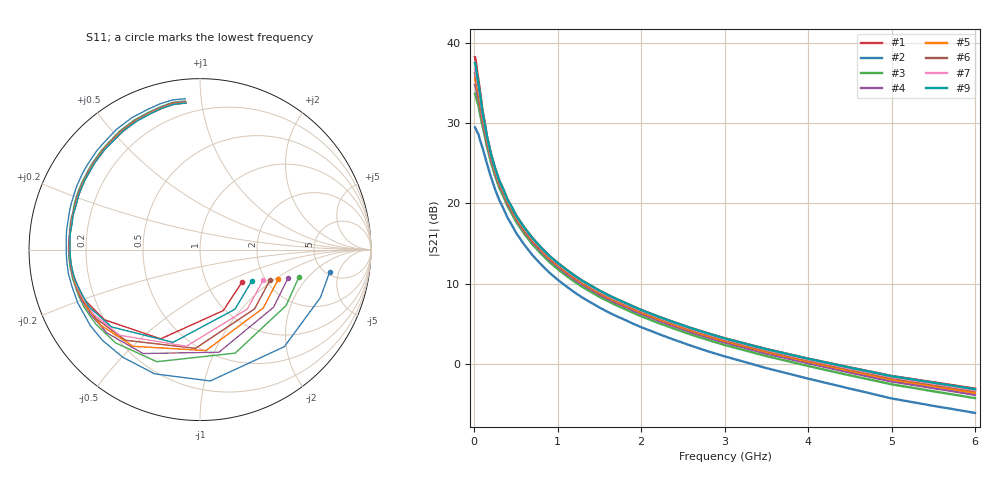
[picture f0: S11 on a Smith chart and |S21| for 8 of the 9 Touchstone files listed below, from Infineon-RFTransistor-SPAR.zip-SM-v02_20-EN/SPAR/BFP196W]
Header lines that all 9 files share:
! Infineon Technologies  Discrete & RF Semiconductors
! BFP196W
! Common Emitter S-Parameters:  Jan 2017
# GHz  S  MA  R  50
!  f  S11  S21  S12  S22
! GHz  MAG  ANG  MAG  ANG  MAG  ANG  MAG  ANG
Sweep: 10 MHz to 6 GHz
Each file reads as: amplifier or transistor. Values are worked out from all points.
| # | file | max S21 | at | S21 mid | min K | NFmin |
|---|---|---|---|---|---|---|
| 1 | BFP196W_w_noise_VCE_11.V_IC_60mA.s2p | 38.3 dB | 10 MHz | 5.9 dB at 2.2 GHz | 0.22 | 1.47 dB |
| 2 | BFP196W_w_noise_VCE_12.V_IC_10mA.s2p | 29.5 dB | 10 MHz | 3.7 dB at 2.2 GHz | 0.09 | 0.91 dB |
| 3 | BFP196W_w_noise_VCE_12.V_IC_20mA.s2p | 33.7 dB | 10 MHz | 5.1 dB at 2.2 GHz | 0.15 | 1.02 dB |
| 4 | BFP196W_w_noise_VCE_12.V_IC_25mA.s2p | 34.8 dB | 10 MHz | 5.4 dB at 2.2 GHz | 0.18 | 1.07 dB |
| 5 | BFP196W_w_noise_VCE_12.V_IC_30mA.s2p | 35.6 dB | 10 MHz | 5.6 dB at 2.2 GHz | 0.18 | 1.13 dB |
| 6 | BFP196W_w_noise_VCE_12.V_IC_35mA.s2p | 36.3 dB | 10 MHz | 5.7 dB at 2.2 GHz | 0.20 | 1.19 dB |
| 7 | BFP196W_w_noise_VCE_12.V_IC_40mA.s2p | 36.8 dB | 10 MHz | 5.8 dB at 2.2 GHz | 0.20 | 1.24 dB |
| 8 | BFP196W_w_noise_VCE_12.V_IC_45mA.s2p | 37.2 dB | 10 MHz | 5.9 dB at 2.2 GHz | 0.23 | 1.31 dB |
| 9 | BFP196W_w_noise_VCE_12.V_IC_50mA.s2p | 37.5 dB | 10 MHz | 5.9 dB at 2.2 GHz | 0.23 | 1.36 dB |

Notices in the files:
Hoja de datos/BFP 450/Infineon-RFTransistor-SPAR.zip-SM-v02_20-EN/SPAR/BFP196W/BFP196W_w_noise_VCE_11.V_IC_60mA.s2p:
(c) 2017  Infineon Technologies AG, Munich
